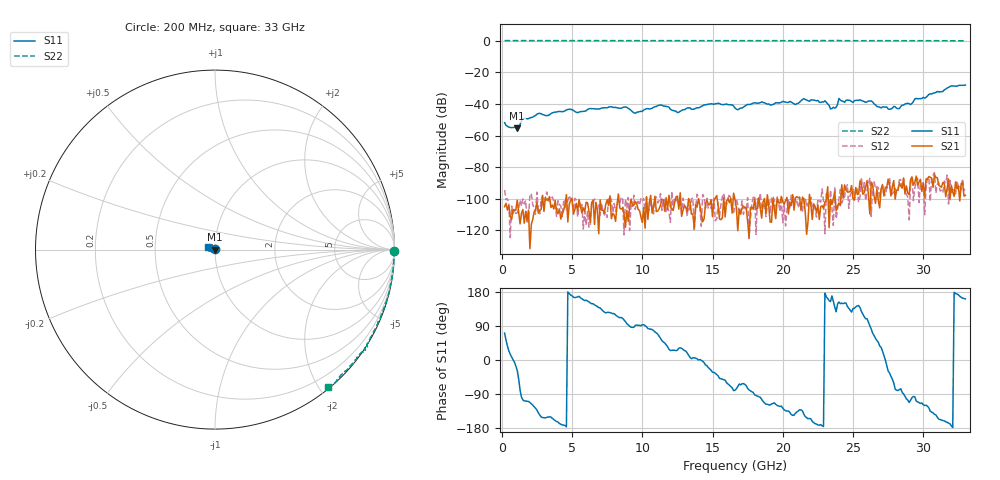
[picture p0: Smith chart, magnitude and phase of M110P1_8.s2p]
# GHZ S RI R 50
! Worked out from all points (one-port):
!   329 points, 200 MHz to 33 GHz, reference 50 ohm
!   lowest |S11| = -55.5 dB at 1.1 GHz (marker M1), VSWR 1.00, Z = 50.1 - j0.0784 ohm
!   |S11| at or under -10 dB: start of sweep to end of sweep
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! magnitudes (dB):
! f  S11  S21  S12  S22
! 200 MHz  -51.9  -105.0  -94.4  0.0
! 1.1 GHz  -55.5  -100.9  -108.8  0.0
! 1.5 GHz  -49.2  -106.7  -100.1  0.0
! 2.6 GHz  -46.1  -109.0  -107.3  0.0
! 5.7 GHz  -44.8  -108.8  -103.6  0.0
! 8.8 GHz  -41.9  -118.0  -100.2  0.0
! 9.5 GHz  -45.9  -101.7  -106.7  0.0
! 11.2 GHz  -40.8  -106.3  -101.1  0.0
! 12.5 GHz  -45.5  -98.3  -101.7  0.0
! 14.9 GHz  -39.9  -100.5  -105.2  0.0
! 16.6 GHz  -42.6  -100.2  -105.0  -0.1
! 18.5 GHz  -38.7  -112.2  -107.0  0.0
! 22.1 GHz  -37.5  -113.0  -105.8  0.0
! 23 GHz  -38.0  -102.1  -122.1  0.0
! 23.4 GHz  -43.2  -100.3  -94.5  0.0
! 23.8 GHz  -42.2  -107.5  -112.5  0.1
! 24 GHz  -36.6  -102.6  -99.9  0.0
! 24.4 GHz  -39.0  -91.2  -98.8  0.0
! 26.3 GHz  -38.2  -89.5  -111.1  0.0
! 27.6 GHz  -43.4  -90.6  -86.5  -0.1
! 32 GHz  -28.6  -91.4  -97.0  -0.1
! 33 GHz  -28.0  -97.7  -94.3  -0.1
